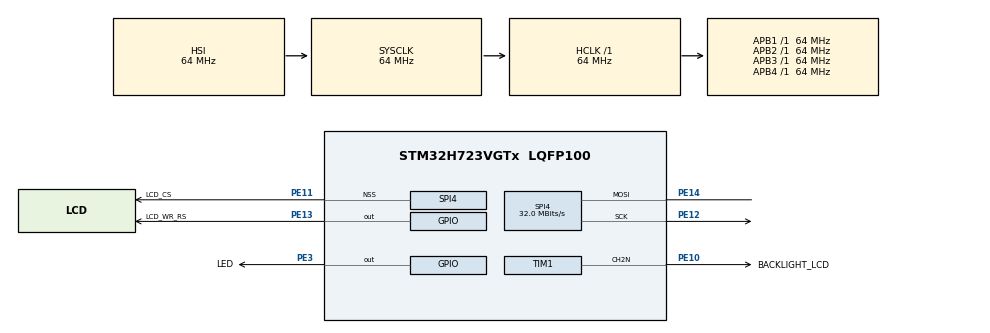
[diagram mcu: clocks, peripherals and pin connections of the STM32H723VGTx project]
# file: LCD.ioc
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CORTEX_M7.default_mode_Activation=1
Mcu.Family=STM32H7
Mcu.Name=STM32H723VGTx
Mcu.Package=LQFP100
NVIC.PriorityGroup=NVIC_PRIORITYGROUP_4
PA13(JTMS/SWDIO).Mode=Serial_Wire
PA13(JTMS/SWDIO).Signal=DEBUG_JTMS-SWDIO
PA14(JTCK/SWCLK).Mode=Serial_Wire
PA14(JTCK/SWCLK).Signal=DEBUG_JTCK-SWCLK
PE10.GPIO_Label=BACKLIGHT_LCD
PE10.Mode=PWM Generation2 CH2N
PE10.Signal=TIM1_CH2N
PE11.GPIO_Label=LCD_CS
PE11.Mode=NSS_Signal_Hard_Output
PE11.Signal=SPI4_NSS
PE12.Mode=Simplex_Bidirectional_Master
PE12.Signal=SPI4_SCK
PE13.GPIO_Label=LCD_WR_RS
PE13.Signal=GPIO_Output
PE14.Mode=Simplex_Bidirectional_Master
PE14.Signal=SPI4_MOSI
PE3.GPIO_Label=LED
PE3.Signal=GPIO_Output
ProjectManager.HeapSize=0x200
ProjectManager.StackSize=0x400
ProjectManager.TargetToolchain=CMake
RCC.ADCFreq_Value=129000000
RCC.APB1Freq_Value=64000000
RCC.APB2Freq_Value=64000000
RCC.APB3Freq_Value=64000000
RCC.APB4Freq_Value=64000000
RCC.CortexFreq_Value=64000000
RCC.HCLKFreq_Value=64000000
RCC.SYSCLKFreq_VALUE=64000000
RCC.USBFreq_Value=129000000
SPI4.CalculateBaudRate=32.0 MBits/s
SPI4.DataSize=SPI_DATASIZE_8BIT
SPI4.Direction=SPI_DIRECTION_1LINE
SPI4.Mode=SPI_MODE_MASTER
SPI4.VirtualNSS=VM_NSSHARD
SPI4.VirtualType=VM_MASTER
TIM1.Channel-PWM\ Generation2\ CH2N=TIM_CHANNEL_2
TIM1.Pulse-PWM\ Generation2\ CH2N=65535
VP_MEMORYMAP_VS_MEMORYMAP.Mode=CurAppReg
VP_TIM1_VS_ClockSourceINT.Mode=Internal
board=custom

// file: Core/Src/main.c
/* USER CODE BEGIN Header */
/**
  ******************************************************************************
  * @file           : main.c
  * @brief          : Main program body
  ******************************************************************************
  * @attention
  *
  * Copyright (c) 2025 STMicroelectronics.
  * All rights reserved.
  *
  * This software is licensed under terms that can be found in the LICENSE file
  * in the root directory of this software component.
  * If no LICENSE file comes with this software, it is provided AS-IS.
  *
  ******************************************************************************
  */
/* USER CODE END Header */
#include "main.h"
#include "spi.h"
#include "tim.h"
#include "gpio.h"

/* USER CODE BEGIN Includes */
#include "lcd.h"
/* USER CODE END Includes */

void SystemClock_Config(void);
static void MPU_Config(void);

int main(void)
{

  /* MPU Configuration--------------------------------------------------------*/
  MPU_Config();

  /* MCU Configuration--------------------------------------------------------*/

  /* Reset of all peripherals, Initializes the Flash interface and the Systick. */
  HAL_Init();

  /* Configure the system clock */
  SystemClock_Config();

  /* Initialize all configured peripherals */
  MX_GPIO_Init();
  MX_SPI4_Init();
  MX_TIM1_Init();
  /* USER CODE BEGIN 2 */
  lcd_init();

  /* USER CODE END 2 */

  /* Infinite loop */
  /* USER CODE BEGIN WHILE */
  HAL_TIMEx_PWMN_Start(&htim1, TIM_CHANNEL_2);

  while (1)
  {
    lcd_fill_rgb565(0xF800); // vermelho
    // Lógica para aumentar e diminuir o backlight
    for (uint32_t d = 0; d <= htim1.Init.Period; d += 512) {
        __HAL_TIM_SET_COMPARE(&htim1, TIM_CHANNEL_2, d);
        HAL_Delay(5);
    }
    for (int32_t d = htim1.Init.Period; d >= 0; d -= 512) {
        __HAL_TIM_SET_COMPARE(&htim1, TIM_CHANNEL_2, d);
        HAL_Delay(5);
    }
    lcd_fill_rgb565(0x001F); // azul

     // Lógica para aumentar e diminuir o backlight
    for (uint32_t d = 0; d <= htim1.Init.Period; d += 512) {
        __HAL_TIM_SET_COMPARE(&htim1, TIM_CHANNEL_2, d);
        HAL_Delay(5);
    }
    for (int32_t d = htim1.Init.Period; d >= 0; d -= 512) {
        __HAL_TIM_SET_COMPARE(&htim1, TIM_CHANNEL_2, d);
        HAL_Delay(5);
    }

    lcd_fill_rgb565(0x07E0); // verde

    for (uint32_t d = 0; d <= htim1.Init.Period; d += 512) {
        __HAL_TIM_SET_COMPARE(&htim1, TIM_CHANNEL_2, d);
        HAL_Delay(5);
    }
    for (int32_t d = htim1.Init.Period; d >= 0; d -= 512) {
        __HAL_TIM_SET_COMPARE(&htim1, TIM_CHANNEL_2, d);
        HAL_Delay(5);
    }
    /* USER CODE END WHILE */

    }
}

void SystemClock_Config(void)
{
  RCC_OscInitTypeDef RCC_OscInitStruct = {0};
  RCC_ClkInitTypeDef RCC_ClkInitStruct = {0};

  /** Supply configuration update enable
  */
  HAL_PWREx_ConfigSupply(PWR_LDO_SUPPLY);

  /** Configure the main internal regulator output voltage
  */
  __HAL_PWR_VOLTAGESCALING_CONFIG(PWR_REGULATOR_VOLTAGE_SCALE3);

  while(!__HAL_PWR_GET_FLAG(PWR_FLAG_VOSRDY)) {}

  /** Initializes the RCC Oscillators according to the specified parameters
  * in the RCC_OscInitTypeDef structure.
  */
  RCC_OscInitStruct.OscillatorType = RCC_OSCILLATORTYPE_HSI;
  RCC_OscInitStruct.HSIState = RCC_HSI_DIV1;
  RCC_OscInitStruct.HSICalibrationValue = 64;
  RCC_OscInitStruct.PLL.PLLState = RCC_PLL_NONE;
  if (HAL_RCC_OscConfig(&RCC_OscInitStruct) != HAL_OK)
  {
    Error_Handler();
  }

  /** Initializes the CPU, AHB and APB buses clocks
  */
  RCC_ClkInitStruct.ClockType = RCC_CLOCKTYPE_HCLK|RCC_CLOCKTYPE_SYSCLK
                              |RCC_CLOCKTYPE_PCLK1|RCC_CLOCKTYPE_PCLK2
                              |RCC_CLOCKTYPE_D3PCLK1|RCC_CLOCKTYPE_D1PCLK1;
  RCC_ClkInitStruct.SYSCLKSource = RCC_SYSCLKSOURCE_HSI;
  RCC_ClkInitStruct.SYSCLKDivider = RCC_SYSCLK_DIV1;
  RCC_ClkInitStruct.AHBCLKDivider = RCC_HCLK_DIV1;
  RCC_ClkInitStruct.APB3CLKDivider = RCC_APB3_DIV1;
  RCC_ClkInitStruct.APB1CLKDivider = RCC_APB1_DIV1;
  RCC_ClkInitStruct.APB2CLKDivider = RCC_APB2_DIV1;
  RCC_ClkInitStruct.APB4CLKDivider = RCC_APB4_DIV1;

  if (HAL_RCC_ClockConfig(&RCC_ClkInitStruct, FLASH_LATENCY_1) != HAL_OK)
  {
    Error_Handler();
  }
}

 /* MPU Configuration */

void MPU_Config(void)
{
  MPU_Region_InitTypeDef MPU_InitStruct = {0};

  /* Disables the MPU */
  HAL_MPU_Disable();

  /** Initializes and configures the Region and the memory to be protected
  */
  MPU_InitStruct.Enable = MPU_REGION_ENABLE;
  MPU_InitStruct.Number = MPU_REGION_NUMBER0;
  MPU_InitStruct.BaseAddress = 0x0;
  MPU_InitStruct.Size = MPU_REGION_SIZE_4GB;
  MPU_InitStruct.SubRegionDisable = 0x87;
  MPU_InitStruct.TypeExtField = MPU_TEX_LEVEL0;
  MPU_InitStruct.AccessPermission = MPU_REGION_NO_ACCESS;
  MPU_InitStruct.DisableExec = MPU_INSTRUCTION_ACCESS_DISABLE;
  MPU_InitStruct.IsShareable = MPU_ACCESS_SHAREABLE;
  MPU_InitStruct.IsCacheable = MPU_ACCESS_NOT_CACHEABLE;
  MPU_InitStruct.IsBufferable = MPU_ACCESS_NOT_BUFFERABLE;

  HAL_MPU_ConfigRegion(&MPU_InitStruct);
  /* Enables the MPU */
  HAL_MPU_Enable(MPU_PRIVILEGED_DEFAULT);

}

void Error_Handler(void)
{
  __disable_irq();
  while (1)
  {
  }
}
